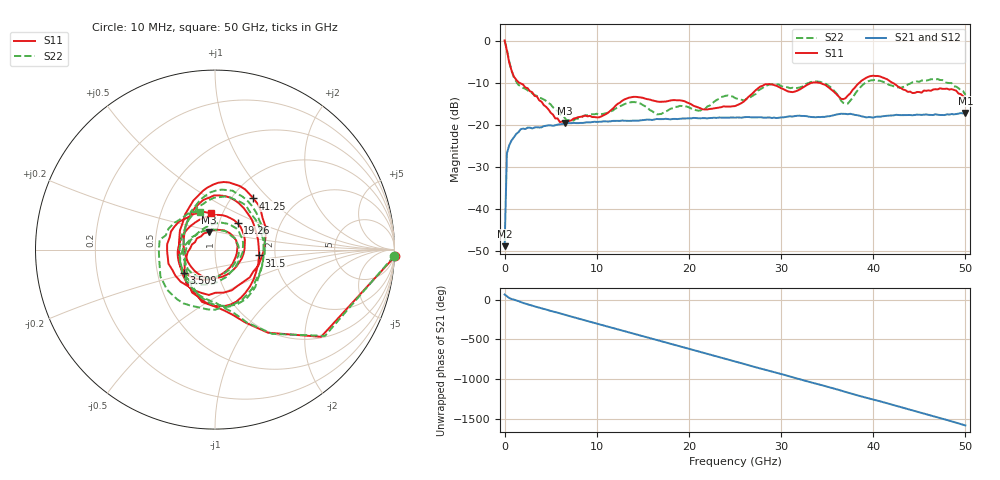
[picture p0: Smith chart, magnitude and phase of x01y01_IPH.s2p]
!Agilent Technologies,N5245A,MY49151005,A.09.50.10
!Agilent N5245A: A.09.50.10
!Date: Thursday, December 20, 2018 18:15:24
!Correction: S11(Full 2 Port(1,2))
!S21(Full 2 Port(1,2))
!S12(Full 2 Port(1,2))
!S22(Full 2 Port(1,2))
!S2P File: Measurements: S11, S21, S12, S22:
# Hz S  RI  R 50
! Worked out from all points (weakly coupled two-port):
!   201 points, 10 MHz to 50 GHz, reference 50 ohm
!   highest |S21| = -17.21 dB at 50 GHz (marker M1); lowest = -48.9 dB at 10 MHz (marker M2)
!   lowest |S11| = -19.6 dB at 6.509 GHz (marker M3), VSWR 1.23, Z = 45.7 + j9.07 ohm
!   |S11| at or under -10 dB: 1.598 GHz to 33.4 GHz (31.8 GHz wide, 182 % of centre); 34 GHz to 38.51 GHz (4.505 GHz wide, 12.4 % of centre); 42.06 GHz to end of sweep
!   |S22| runs from -19.2 to 0.0 dB; largest |S21 - S12| = 0.0028
!   S11 on the Smith chart (normalised r, x): 10 MHz: -8, -55; 3.509 GHz: 0.68, -0.19; 19.26 GHz: 1.23, +0.37; 31.5 GHz: 1.65, -0.12; 41.25 GHz: 1.25, +0.82; 50 GHz: 0.89, +0.37
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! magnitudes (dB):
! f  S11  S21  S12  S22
! 10 MHz  0.0  -48.9  -52.4  0.0
! 259.9 MHz  -2.3  -26.8  -26.8  -2.2
! 1.26 GHz  -9.3  -22.2  -22.2  -9.7
! 3.509 GHz  -13.3  -20.6  -20.6  -13.2
! 6.509 GHz  -19.6  -19.8  -19.8  -18.3
! 8.508 GHz  -18.0  -19.6  -19.5  -17.9
! 10.26 GHz  -18.2  -19.3  -19.2  -17.6
! 14.01 GHz  -13.4  -19.0  -19.1  -14.6
! 16.76 GHz  -14.6  -18.7  -18.7  -17.5
! 19.26 GHz  -14.3  -18.5  -18.6  -15.6
! 21.26 GHz  -16.1  -18.5  -18.5  -16.6
! 25 GHz  -15.6  -18.3  -18.3  -13.6
! 28.25 GHz  -10.4  -18.4  -18.2  -10.8
! 31.5 GHz  -12.1  -17.9  -17.8  -11.4
! 33.5 GHz  -9.9  -18.2  -18.2  -9.8
! 37.25 GHz  -13.0  -17.5  -17.5  -15.0
! 39.25 GHz  -8.8  -18.3  -18.3  -9.9
! 41.25 GHz  -9.0  -17.9  -17.9  -9.9
! 41.75 GHz  -9.6  -17.8  -17.9  -10.6
! 44.25 GHz  -12.5  -17.8  -17.7  -9.9
! 47 GHz  -11.6  -17.6  -17.7  -9.2
! 50 GHz  -13.9  -17.2  -17.2  -12.9
